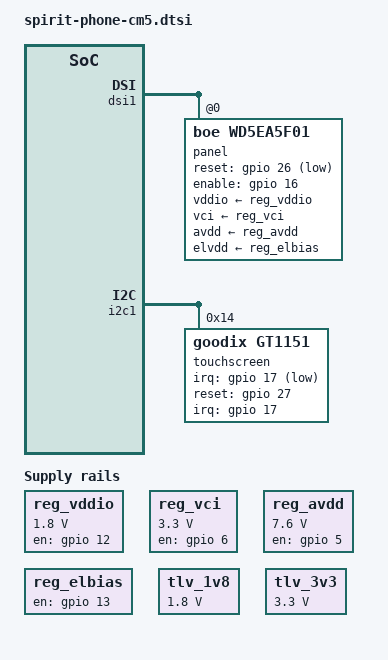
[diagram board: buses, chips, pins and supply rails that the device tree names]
/*
 * TODO: Move this node under the correct I2C controller once the bus is known.
 * For now it's defined at root level with status="disabled" so it compiles
 * but has no runtime effect.
 */

&{/} {
	spirit_pmic: spirit-pmic {
		compatible = "ti,tps65023";
		status = "disabled";

		/* Address 0x48 - will need proper reg when moved under I2C bus */

		regulators {
			VDCDC1 {
				regulator-name = "3v3a";
				regulator-boot-on;
				regulator-min-microvolt = <3300000>;
				regulator-max-microvolt = <3300000>;
			};

			VDCDC2 {
				regulator-name = "1v8";
				regulator-always-on;
				regulator-min-microvolt = <1800000>;
				regulator-max-microvolt = <1800000>;
			};

			VDCDC3 {
				regulator-name = "3v3b";
				regulator-always-on;
				regulator-min-microvolt = <3300000>;
				regulator-max-microvolt = <3300000>;
			};
		};
	};

	/* Panel Regulators */
	reg_vddio: regulator-vddio {
		compatible = "regulator-fixed";
		regulator-name = "vddio";
		regulator-min-microvolt = <1800000>;
		regulator-max-microvolt = <1800000>;
		gpio = <&gpio 12 GPIO_ACTIVE_HIGH>; /* PANEL_1.8V_EN */
		enable-active-high;
		startup-delay-us = <5000>;
	};

	reg_vci: regulator-vci {
		compatible = "regulator-fixed";
		regulator-name = "vci";
		regulator-min-microvolt = <3300000>;
		regulator-max-microvolt = <3300000>;
		gpio = <&gpio 6 GPIO_ACTIVE_HIGH>; /* PANEL_3.3V_EN */
		enable-active-high;
		startup-delay-us = <5000>;
	};

	reg_avdd: regulator-avdd {
		compatible = "regulator-fixed";
		regulator-name = "avdd";
		regulator-min-microvolt = <7600000>;
		regulator-max-microvolt = <7600000>;
		gpio = <&gpio 5 GPIO_ACTIVE_HIGH>; /* PANEL_AVDD_EN */
		enable-active-high;
		startup-delay-us = <10000>;
	};

	/* TPS65131 enable */
	reg_elbias: regulator-elbias {
		compatible = "regulator-fixed";
		regulator-name = "elvdd";
		gpio = <&gpio 13 GPIO_ACTIVE_HIGH>; /* TPS65131_EN */
		enable-active-high;
		startup-delay-us = <10000>;
	};

};

/* DSI1 Panel Configuration */
&dsi1 {
	status = "okay";

	panel@0 {
		compatible = "boe,wd5ea5f01";
		reg = <0>;

		dsi-lanes = <4>;
		video-mode;

		width-mm = <68>;
		height-mm = <121>;

		/* Panel GPIOs */
		reset-gpios  = <&gpio 26 GPIO_ACTIVE_LOW>;   // PANEL_RESET
		enable-gpios = <&gpio 16 GPIO_ACTIVE_HIGH>;  // PANEL_EN
		// te-gpios     = <&gpio 23 GPIO_ACTIVE_HIGH>;  // TE is temporarely disabled for testing

		/* Regulators (names must match driver) */
		vddio-supply = <&reg_vddio>;
		vci-supply   = <&reg_vci>;
		avdd-supply  = <&reg_avdd>;
		elvdd-supply = <&reg_elbias>;

		panel-timing {
			clock-frequency = <150850000>; // Correct pixel clock

			hactive = <1080>;
			vactive = <1920>;

			hfront-porch = <100>;
			hsync-len = <8>;
			hback-porch  = <100>;

			vfront-porch = <21>;
			vsync-len    = <4>;
			vback-porch  = <7>;

			hsync-active    = <0>;
			vsync-active    = <0>;
			de-active       = <1>;
			pixelclk-active = <0>;
		};
	};
};

/* Touchscreen — Goodix GT1151 */
&i2c1 {
	status = "okay";

	touchscreen@14 {
		compatible = "goodix,gt1151";
		reg = <0x14>;

		interrupt-parent = <&gpio>;
		interrupts = <17 IRQ_TYPE_EDGE_FALLING>; /* TSP_ATTN */

		irq-gpios = <&gpio 17 GPIO_ACTIVE_LOW>;
		reset-gpios = <&gpio 27 GPIO_ACTIVE_HIGH>;

		touchscreen-size-x = <1080>;
		touchscreen-size-y = <1920>;
	};
};

// Audio Codec - TLV320AIC3104 
// I2C not decided, status disabled 
&i2c2 {
	#address-cells = <1>;
	#size-cells = <0>;
	status = "disabled";

	tlv320aic3104: tlv320aic3204@18 {
		#sound-dai-cells = <0>;
		compatible = "ti,tlv320aic3204";
		reg = <0x18>; 
		status = "disabled"; // will be enabled once I2C bus is determined

		pinctrl-names = "default";
		pinctrl-0 = <&codec_mclk_gpio4>;

		clocks = <&rp1_clocks RP1_CLK_GP0>;
		clock-names = "mclk";
		assigned-clocks = <&rp1_clocks RP1_CLK_GP0>;
		assigned-clock-rates = <12288000>; /* 12.288 MHz */

		reset-gpios = <&gpio 24 GPIO_ACTIVE_LOW>;

		ai3x-micbias-vg = <2>; // set MICBIAS to 2.5v

		AVDD-supply = <&tlv_1v8>;
		IOVDD-supply = <&tlv_3v3>;
		DRVDD-supply = <&tlv_3v3>;
		DVDD-supply = <&tlv_1v8>;
	};
};

&{/} {
	/* TLV320 supply rails without GPIO enables (dummies for now) */
	tlv_1v8: regulator-tlv-1v8 {
		compatible = "regulator-fixed";
		regulator-name = "tlv_1v8";
		regulator-min-microvolt = <1800000>;
		regulator-max-microvolt = <1800000>;
		regulator-boot-on;
		regulator-always-on;
	};

	tlv_3v3: regulator-tlv-3v3 {
		compatible = "regulator-fixed";
		regulator-name = "tlv_3v3";
		regulator-min-microvolt = <3300000>;
		regulator-max-microvolt = <3300000>;
		regulator-boot-on;
		regulator-always-on;
	};
};

/* Set GPIO4 to GPCLK0 */
&gpio {
    codec_mclk_gpio4: codec_mclk_gpio4 {
		pins = "gpio4";
		function = "gpclk0";
		bias-disable;
    };
};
